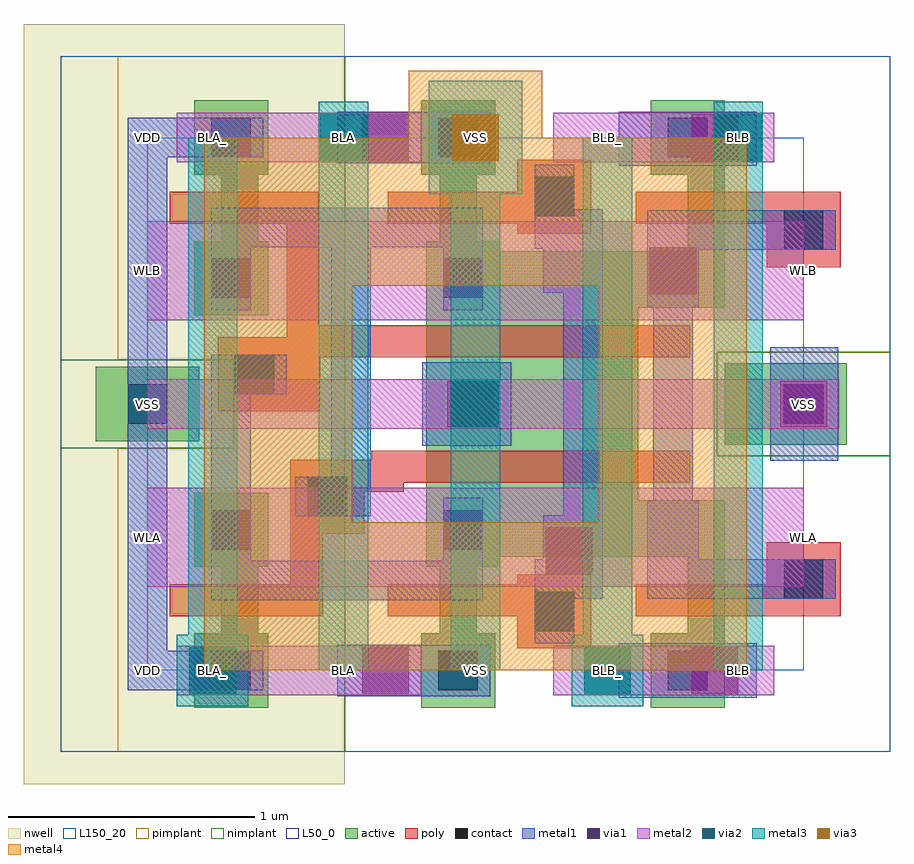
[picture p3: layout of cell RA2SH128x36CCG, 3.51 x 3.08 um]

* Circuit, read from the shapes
.subckt RA2SH128x36CCG BLA BLA_ BLB BLB_ VDD VSS WLA WLB
M1 VSS n1 n2 VSS nfet w=0.86u l=0.13u
M2 n1 n2 VSS VSS nfet w=0.86u l=0.13u
M3 n2 WLA BLA_ VSS nfet w=0.15u l=0.13u
M4 BLA WLA n1 VSS nfet w=0.15u l=0.13u
M5 n2 WLB BLB_ VSS nfet w=0.15u l=0.13u
M6 BLB WLB n1 VSS nfet w=0.15u l=0.13u
M7 n2 n1 VDD VDD pfet w=0.15u l=0.13u
M8 VDD n2 n1 VDD pfet w=0.15u l=0.13u
.ends

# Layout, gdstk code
import gdstk
lib = gdstk.Library(unit=1e-6, precision=1e-09)
def R(c, l, rs):  # rectangles x0, y0, x1, y1
    for r in rs: c.add(gdstk.rectangle(r[:2], r[2:], *l))
def P(c, l, *ps):  # polygons
    for p in ps: c.add(gdstk.Polygon(p, *l))
nwell = (3, 0)
active = (6, 0)
poly = (17, 0)
pimplant = (25, 0)
nimplant = (26, 0)
contact = (30, 0)
metal1 = (31, 0)
metal2 = (32, 0)
metal3 = (33, 0)
metal4 = (34, 0)
L50_0 = (50, 0)
via1 = (51, 0)
via2 = (52, 0)
via3 = (53, 0)
L150_20 = (150, 20)

ra2sh128x36ccg = lib.new_cell('RA2SH128x36CCG')
R(ra2sh128x36ccg, nwell, [(-0.5,-0.46,0.8,2.62)])
R(ra2sh128x36ccg, active, [(2.34,0.915,2.835,1.245), (-0.21,0.93,0.21,1.23)])
P(ra2sh128x36ccg, active, [(0.19,0.72),(0.19,0.42),(0.3,0.42),(0.3,0.15),(0.19,0.15),(0.19,-0.15),(0.49,-0.15),(0.49,0.15),(0.45,0.15),(0.45,0.42),(0.49,0.42),(0.49,0.72)],
  [(0.19,2.31),(0.19,2.01),(0.3,2.01),(0.3,1.74),(0.19,1.74),(0.19,1.44),(0.49,1.44),(0.49,1.74),(0.45,1.74),(0.45,2.01),(0.49,2.01),(0.49,2.31)],
  [(2.04,2.31),(2.04,2.01),(2.19,2.01),(2.19,1.7),(1.43,1.7),(1.43,1.74),(1.335,1.74),(1.335,2.01),(1.41,2.01),(1.41,2.31),(1.11,2.31),(1.11,2.01),(1.185,2.01),(1.185,1.74),(1.13,1.74),(1.13,0.42),(1.185,0.42),(1.185,0.15),(1.11,0.15),(1.11,-0.15),(1.41,-0.15),(1.41,0.15),(1.335,0.15),(1.335,0.42),(1.43,0.42),(1.43,0.46),(2.19,0.46),(2.19,0.15),(2.04,0.15),(2.04,-0.15),(2.34,-0.15),(2.34,0.69),(1.99,0.69),(1.99,1.47),(2.34,1.47),(2.34,2.31)])
P(ra2sh128x36ccg, poly, [(1.5,0.39),(1.5,0.35),(0.975,0.35),(0.975,0.22),(1.5,0.22),(1.5,0.09),(1.8,0.09),(1.8,0.39)],
  [(2.51,0.52),(2.51,0.35),(1.98,0.35),(1.98,0.22),(2.81,0.22),(2.81,0.52)],
  [(0.91,0.89),(0.91,0.855),(0.58,0.855),(0.58,0.35),(0.09,0.35),(0.09,0.22),(0.71,0.22),(0.71,0.555),(0.88,0.555),(0.88,0.725),(1.04,0.725),(1.04,0.76),(2.2,0.76),(2.2,0.89)],
  [(0.09,1.94),(0.09,1.81),(0.565,1.81),(0.565,1.35),(0.285,1.35),(0.285,1.05),(0.7,1.05),(0.7,1.27),(2.2,1.27),(2.2,1.4),(0.695,1.4),(0.695,1.94)],
  [(1.98,1.94),(1.98,1.81),(2.51,1.81),(2.51,1.635),(2.81,1.635),(2.81,1.94)],
  [(1.5,2.07),(1.5,1.94),(0.975,1.94),(0.975,1.81),(1.5,1.81),(1.5,1.77),(1.8,1.77),(1.8,2.07)])
R(ra2sh128x36ccg, pimplant, [(2.31,0.87,3.01,1.29)])
P(ra2sh128x36ccg, pimplant, [(-0.12,2.49),(-0.12,1.26),(0.35,1.26),(0.35,0.9),(-0.12,0.9),(-0.12,-0.33),(0.8,-0.33),(0.8,2.49)])
R(ra2sh128x36ccg, nimplant, [(-0.35,0.9,0.35,1.26)])
P(ra2sh128x36ccg, nimplant, [(0.8,2.49),(0.8,-0.33),(3.01,-0.33),(3.01,0.87),(2.31,0.87),(2.31,1.29),(3.01,1.29),(3.01,2.49)])
R(ra2sh128x36ccg, contact, [(0.26,-0.08,0.42,0.08), (1.18,-0.08,1.34,0.08), (2.11,-0.08,2.27,0.08), (1.57,0.16,1.73,0.32), (2.58,0.29,2.74,0.45), (0.26,0.49,0.42,0.65), (1.2,0.49,1.36,0.65), (0.65,0.625,0.81,0.785), (-0.08,1,0.08,1.16), (1.23,1,1.39,1.16), (2.58,1,2.74,1.16), (0.355,1.12,0.515,1.28), (0.26,1.51,0.42,1.67), (1.2,1.51,1.36,1.67), (2.58,1.705,2.74,1.865), (1.57,1.84,1.73,2), (0.26,2.08,0.42,2.24), (1.18,2.08,1.34,2.24), (2.11,2.08,2.27,2.24)])
R(ra2sh128x36ccg, metal1, [(1.91,-0.11,2.47,0.11), (0.77,-0.105,1.39,0.105), (2.525,0.85,2.8,1.31), (1.115,0.91,1.475,1.25), (1.91,2.045,2.47,2.265), (0.77,2.055,1.39,2.265)])
P(ra2sh128x36ccg, metal1, [(0.26,1.28),(0.26,0.285),(1.36,0.285),(1.36,0.7),(1.2,0.7),(1.2,0.445),(0.42,0.445),(0.42,1.12),(0.565,1.12),(0.565,1.28)],
  [(2.025,1.865),(2.025,1.475),(2.05,1.475),(2.05,0.685),(2.025,0.685),(2.025,0.29),(2.79,0.29),(2.79,0.45),(2.235,0.45),(2.235,0.685),(2.21,0.685),(2.21,1.475),(2.235,1.475),(2.235,1.705),(2.79,1.705),(2.79,1.865)],
  [(0.26,1.875),(0.26,1.46),(0.42,1.46),(0.42,1.715),(0.745,1.715),(0.745,0.785),(0.6,0.785),(0.6,0.625),(0.905,0.625),(0.905,1.715),(1.2,1.715),(1.2,1.46),(1.36,1.46),(1.36,1.875)],
  [(1.57,2.05),(1.57,1.71),(1.605,1.71),(1.605,1.53),(1.685,1.53),(1.685,0.63),(1.605,0.63),(1.605,0.45),(1.57,0.45),(1.57,0.11),(1.73,0.11),(1.73,0.29),(1.845,0.29),(1.845,1.87),(1.73,1.87),(1.73,2.05)],
  [(-0.08,2.24),(-0.08,-0.08),(0.47,-0.08),(0.47,0.08),(0.08,0.08),(0.08,2.08),(0.47,2.08),(0.47,2.24)])
R(ra2sh128x36ccg, metal2, [(0.12,-0.1,1.11,0.1), (1.645,-0.1,2.54,0.1), (0,0.34,2.66,0.74), (0,0.98,2.805,1.18), (0,1.42,2.66,1.82), (0.12,2.06,1.11,2.26), (1.645,2.06,2.54,2.26)])
R(ra2sh128x36ccg, metal3, [(0.695,0,0.895,2.305), (2.295,0,2.495,2.305)])
P(ra2sh128x36ccg, metal3, [(0.165,2.16),(0.165,0.145),(0.12,0.145),(0.12,-0.145),(0.41,-0.145),(0.41,0.145),(0.365,0.145),(0.365,2.16)],
  [(1.765,2.16),(1.765,0.145),(1.72,0.145),(1.72,-0.145),(2.01,-0.145),(2.01,0.145),(1.965,0.145),(1.965,2.16)],
  [(1.14,2.39),(1.14,1.93),(1.23,1.93),(1.23,0),(1.43,0),(1.43,1.93),(1.52,1.93),(1.52,2.39)])
P(ra2sh128x36ccg, metal4, [(1.83,1.08),(1.83,0.6),(0.83,0.6),(0.83,1.08),(0.23,1.08),(0.23,0),(2.43,0),(2.43,1.08)],
  [(1.06,2.43),(1.06,2.16),(0.23,2.16),(0.23,1.08),(0.83,1.08),(0.83,1.56),(1.83,1.56),(1.83,1.08),(2.43,1.08),(2.43,2.16),(1.6,2.16),(1.6,2.43)])
R(ra2sh128x36ccg, L50_0, [(-0.35,-0.33,3.01,2.49)])
R(ra2sh128x36ccg, via1, [(0.87,-0.095,1.06,0.095), (2.205,-0.095,2.395,0.095), (1.615,0.39,1.805,0.58), (1.215,0.985,1.405,1.175), (2.565,0.985,2.755,1.175), (2.035,1.525,2.225,1.715), (0.87,2.065,1.06,2.255), (2.205,2.065,2.395,2.255)])
R(ra2sh128x36ccg, via2, [(0.17,-0.095,0.36,0.095), (1.77,-0.095,1.96,0.095), (1.235,0.985,1.425,1.175), (0.7,2.065,0.89,2.255), (2.3,2.065,2.49,2.255)])
R(ra2sh128x36ccg, via3, [(1.235,2.065,1.425,2.255)])
R(ra2sh128x36ccg, L150_20, [(0,0,2.66,2.16)])
ra2sh128x36ccg.add(gdstk.Label('WLB', (0,1.62), layer=132, texttype=0))
ra2sh128x36ccg.add(gdstk.Label('VSS', (0,1.08), layer=132, texttype=0))
ra2sh128x36ccg.add(gdstk.Label('WLA', (0,0.54), layer=132, texttype=0))
ra2sh128x36ccg.add(gdstk.Label('VDD', (0,0), layer=131, texttype=0))
ra2sh128x36ccg.add(gdstk.Label('VDD', (0,2.16), layer=131, texttype=0))
ra2sh128x36ccg.add(gdstk.Label('WLB', (2.66,1.62), layer=132, texttype=0))
ra2sh128x36ccg.add(gdstk.Label('WLA', (2.66,0.54), layer=132, texttype=0))
ra2sh128x36ccg.add(gdstk.Label('VSS', (2.66,1.08), layer=132, texttype=0))
ra2sh128x36ccg.add(gdstk.Label('BLA_', (0.265,0), layer=133, texttype=0))
ra2sh128x36ccg.add(gdstk.Label('BLB_', (1.865,0), layer=133, texttype=0))
ra2sh128x36ccg.add(gdstk.Label('VSS', (1.33,0), layer=133, texttype=0))
ra2sh128x36ccg.add(gdstk.Label('BLA', (0.795,0), layer=133, texttype=0))
ra2sh128x36ccg.add(gdstk.Label('BLB', (2.395,0), layer=133, texttype=0))
ra2sh128x36ccg.add(gdstk.Label('VDD', (0,0), layer=131, texttype=0))
ra2sh128x36ccg.add(gdstk.Label('VSS', (1.33,0), layer=134, texttype=0))
ra2sh128x36ccg.add(gdstk.Label('VSS', (1.33,2.16), layer=133, texttype=0))
ra2sh128x36ccg.add(gdstk.Label('BLB_', (1.865,2.16), layer=133, texttype=0))
ra2sh128x36ccg.add(gdstk.Label('BLA', (0.795,2.16), layer=133, texttype=0))
ra2sh128x36ccg.add(gdstk.Label('BLA_', (0.265,2.16), layer=133, texttype=0))
ra2sh128x36ccg.add(gdstk.Label('BLB', (2.395,2.16), layer=133, texttype=0))
ra2sh128x36ccg.add(gdstk.Label('VDD', (0,2.16), layer=131, texttype=0))
ra2sh128x36ccg.add(gdstk.Label('VSS', (1.33,2.16), layer=134, texttype=0))

lib.write_gds('RA2SH128x36CCG.gds')
